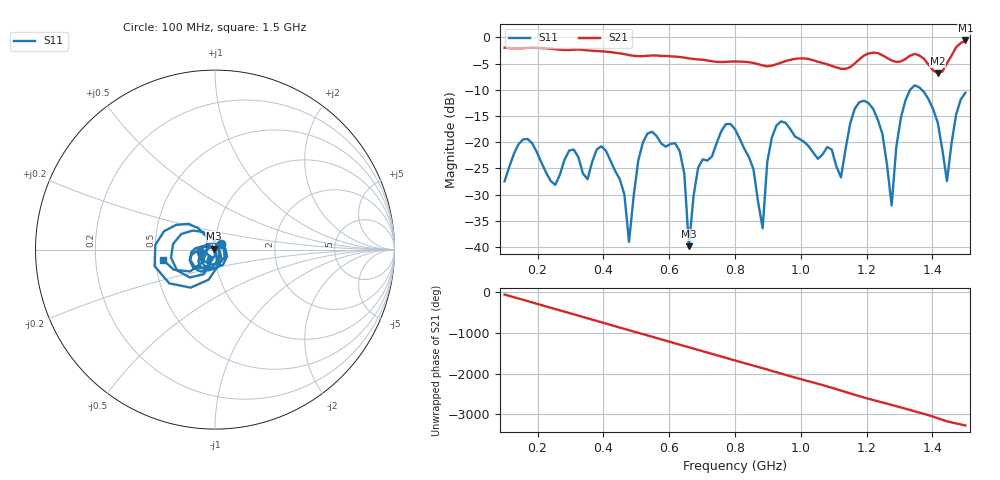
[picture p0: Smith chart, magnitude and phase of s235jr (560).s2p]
! NanoVNA-App
! Date: 2025-09-25 15:08:31
! Start: 100MHz Stop: 1,5GHz Points: 101
! S-Parameter data: F S11 S21 S12 S22
# Hz S RI R 50
!  Frequency  S11_Real  S11_Imag  S21_Real  S21_Imag  S12_Real  S12_Imag  S22_Real  S22_Imag
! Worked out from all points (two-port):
!   101 points, 100 MHz to 1.5 GHz, reference 50 ohm
!   highest |S21| = -0.59 dB at 1.5 GHz (marker M1); lowest = -6.8 dB at 1.416 GHz (marker M2)
!   |S21| within 3 dB of the highest: start of sweep to 598.3 MHz; 1.19 GHz to 1.253 GHz (63.26 MHz wide, 5.18 % of centre) (the widest 2 of 4)
!   lowest |S11| = -39.8 dB at 660 MHz (marker M3), VSWR 1.02, Z = 49.2 + j0.597 ohm
!   |S11| at or under -10 dB: start of sweep to 1.332 GHz; 1.367 GHz to end of sweep
!   S12 and S22 are empty: the file has one direction only
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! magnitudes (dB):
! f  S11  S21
! 100 MHz  -27.5  -2.0
! 170 MHz  -19.4  -2.0
! 338 MHz  -26.0  -2.4
! 408 MHz  -21.7  -2.7
! 478 MHz  -39.0  -3.4
! 520 MHz  -20.1  -3.6
! 576 MHz  -20.3  -3.5
! 632 MHz  -21.7  -3.7
! 660 MHz  -39.8  -4.0
! 688 MHz  -24.9  -4.2
! 800 MHz  -17.5  -4.6
! 884 MHz  -36.4  -5.4
! 898 MHz  -23.8  -5.5
! 926 MHz  -16.8  -5.1
! 1.038 GHz  -22.0  -4.4
! 1.122 GHz  -26.7  -6.0
! 1.206 GHz  -12.6  -3.1
! 1.276 GHz  -32.1  -4.4
! 1.332 GHz  -10.0  -3.5
! 1.416 GHz  -16.3  -6.8
! 1.444 GHz  -27.4  -4.9
! 1.5 GHz  -10.6  -0.6
